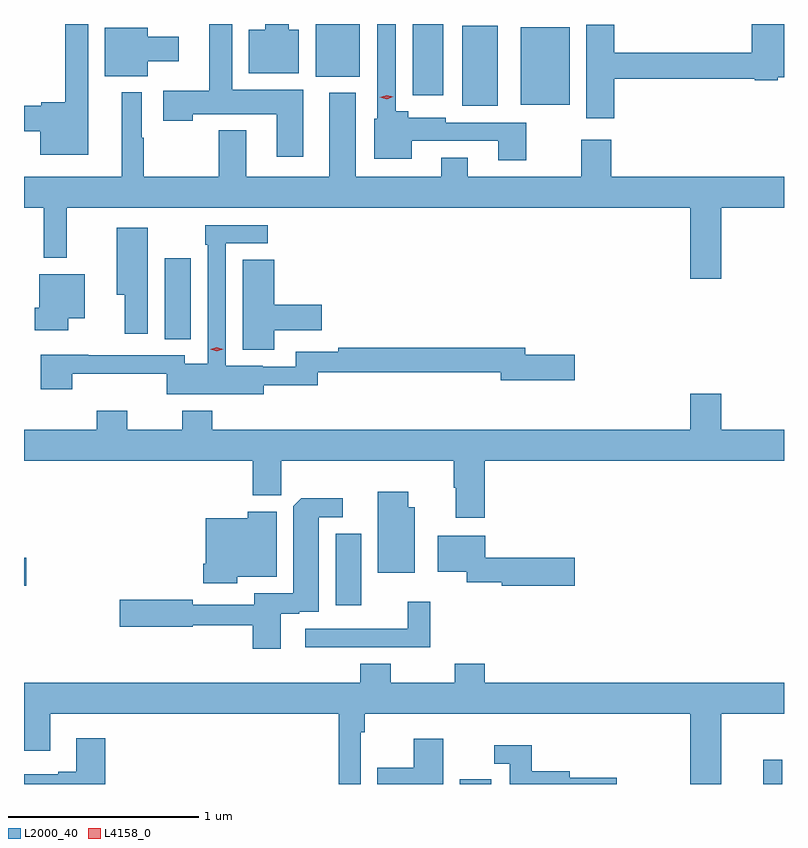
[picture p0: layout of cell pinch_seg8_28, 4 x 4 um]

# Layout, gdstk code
import gdstk
lib = gdstk.Library(unit=1e-6, precision=1e-09)
def R(c, l, rs):  # rectangles x0, y0, x1, y1
    for r in rs: c.add(gdstk.rectangle(r[:2], r[2:], *l))
def P(c, l, *ps):  # polygons
    for p in ps: c.add(gdstk.Polygon(p, *l))
L2000_40 = (2000, 40)
L4158_0 = (4158, 0)

pinch_seg8_28 = lib.new_cell('pinch_seg8_28')
R(pinch_seg8_28, L2000_40, [(895.064,1158.755,895.228,1158.781), (896.662,1158.755,896.761,1158.883), (894.41,1159.695,894.544,1160.071), (892.77,1159.799,892.783,1159.946), (893.51,1161.097,893.647,1161.523), (895.076,1162.325,895.264,1162.747), (895.385,1162.331,895.642,1162.738), (894.815,1162.38,894.976,1162.755), (894.305,1162.478,894.538,1162.755)])
P(pinch_seg8_28, L2000_40, [(895.877,1162.468),(896.616,1162.468),(896.616,1162.46),(896.736,1162.46),(896.736,1162.475),(896.77,1162.475),(896.77,1162.755),(896.6,1162.755),(896.6,1162.604),(895.877,1162.604),(895.877,1162.751),(895.73,1162.751),(895.73,1162.26),(895.877,1162.26)],
  [(895.413,1162.236),(894.99,1162.236),(894.99,1162.261),(894.792,1162.261),(894.792,1162.295),(894.726,1162.295),(894.726,1162.755),(894.63,1162.755),(894.63,1162.257),(894.614,1162.257),(894.614,1162.046),(894.811,1162.046),(894.811,1162.14),(895.265,1162.14),(895.265,1162.038),(895.413,1162.038)],
  [(893.107,1162.755),(892.986,1162.755),(892.986,1162.343),(892.86,1162.343),(892.86,1162.325),(892.77,1162.325),(892.77,1162.19),(892.856,1162.19),(892.856,1162.067),(893.107,1162.067)],
  [(894.241,1162.408),(893.866,1162.408),(893.866,1162.755),(893.744,1162.755),(893.744,1162.403),(893.504,1162.403),(893.504,1162.246),(893.658,1162.246),(893.658,1162.28),(894.101,1162.28),(894.101,1162.056),(894.241,1162.056)],
  [(894.217,1162.726),(894.163,1162.726),(894.163,1162.755),(894.041,1162.755),(894.041,1162.726),(893.954,1162.726),(893.954,1162.496),(894.217,1162.496)],
  [(893.422,1162.559),(893.584,1162.559),(893.584,1162.689),(893.422,1162.689),(893.422,1162.735),(893.195,1162.735),(893.195,1162.481),(893.422,1162.481)],
  [(896.44,1161.788),(896.77,1161.788),(896.77,1161.952),(895.862,1161.952),(895.862,1162.147),(895.702,1162.147),(895.702,1161.952),(895.105,1161.952),(895.105,1162.051),(894.965,1162.051),(894.965,1161.952),(894.517,1161.952),(894.517,1162.393),(894.377,1162.393),(894.377,1161.952),(893.941,1161.952),(893.941,1162.195),(893.794,1162.195),(893.794,1161.952),(893.399,1161.952),(893.399,1162.157),(893.389,1162.157),(893.389,1162.396),(893.285,1162.396),(893.285,1161.952),(892.77,1161.952),(892.77,1161.788),(892.873,1161.788),(892.873,1161.525),(892.994,1161.525),(892.994,1161.788),(896.276,1161.788),(896.276,1161.414),(896.44,1161.414)],
  [(894.031,1160.854),(894.317,1160.854),(894.317,1160.922),(895.28,1160.922),(895.28,1160.879),(895.669,1160.879),(895.669,1161.014),(895.408,1161.014),(895.408,1161.05),(894.424,1161.05),(894.424,1161.03),(894.201,1161.03),(894.201,1160.952),(894.027,1160.952),(894.027,1160.956),(893.832,1160.956),(893.832,1161.6),(894.052,1161.6),(894.052,1161.696),(893.724,1161.696),(893.724,1161.593),(893.736,1161.593),(893.736,1160.968),(893.616,1160.968),(893.616,1161.012),(893.107,1161.012),(893.107,1161.013),(892.859,1161.013),(892.859,1160.832),(893.024,1160.832),(893.024,1160.915),(893.52,1160.915),(893.52,1160.807),(894.031,1160.807)],
  [(893.422,1161.682),(893.258,1161.682),(893.258,1161.329),(893.3,1161.329),(893.3,1161.126),(893.422,1161.126)],
  [(894.088,1161.143),(894.337,1161.143),(894.337,1161.278),(894.088,1161.278),(894.088,1161.515),(893.921,1161.515),(893.921,1161.041),(894.088,1161.041)],
  [(893.004,1161.206),(893.089,1161.206),(893.089,1161.439),(892.85,1161.439),(892.85,1161.261),(892.826,1161.261),(892.826,1161.143),(893.004,1161.143)],
  [(895.196,1160.456),(896.77,1160.456),(896.77,1160.62),(896.44,1160.62),(896.44,1160.809),(896.276,1160.809),(896.276,1160.62),(893.762,1160.62),(893.762,1160.719),(893.602,1160.719),(893.602,1160.62),(893.313,1160.62),(893.313,1160.719),(893.153,1160.719),(893.153,1160.62),(892.77,1160.62),(892.77,1160.456),(893.975,1160.456),(893.975,1160.274),(894.125,1160.274),(894.125,1160.456),(895.031,1160.456),(895.031,1160.315),(895.043,1160.315),(895.043,1160.157),(895.196,1160.157)],
  [(894.826,1160.212),(894.793,1160.212),(894.793,1160.293),(894.632,1160.293),(894.632,1159.868),(894.826,1159.868)],
  [(894.121,1159.65),(894.218,1159.65),(894.218,1159.662),(894.322,1159.662),(894.322,1160.16),(894.448,1160.16),(894.448,1160.258),(894.23,1160.258),(894.188,1160.216),(894.188,1159.758),(893.981,1159.758),(893.981,1159.698),(893.658,1159.698),(893.658,1159.724),(893.274,1159.724),(893.274,1159.582),(893.658,1159.582),(893.658,1159.59),(893.974,1159.59),(893.974,1159.467),(894.121,1159.467)],
  [(893.892,1159.847),(894.1,1159.847),(894.1,1160.188),(893.948,1160.188),(893.948,1160.155),(893.726,1160.155),(893.726,1159.915),(893.714,1159.915),(893.714,1159.811),(893.892,1159.811)],
  [(895.669,1159.946),(895.197,1159.946),(895.197,1160.062),(894.947,1160.062),(894.947,1159.871),(895.101,1159.871),(895.101,1159.816),(895.284,1159.816),(895.284,1159.799),(895.669,1159.799)],
  [(894.908,1159.714),(894.79,1159.714),(894.79,1159.572),(894.249,1159.572),(894.249,1159.476),(894.908,1159.476)],
  [(894.543,1159.028),(894.563,1159.028),(894.563,1159.124),(896.276,1159.124),(896.276,1158.755),(896.44,1158.755),(896.44,1159.124),(896.77,1159.124),(896.77,1159.288),(895.196,1159.288),(895.196,1159.387),(895.036,1159.387),(895.036,1159.288),(894.699,1159.288),(894.699,1159.387),(894.539,1159.387),(894.539,1159.288),(892.77,1159.288),(892.77,1158.93),(892.909,1158.93),(892.909,1159.124),(894.427,1159.124),(894.427,1158.755),(894.543,1158.755)],
  [(893.198,1158.997),(893.045,1158.997),(893.045,1158.82),(892.949,1158.82),(892.949,1158.807),(892.77,1158.807),(892.77,1158.755),(893.198,1158.755)],
  [(894.976,1158.994),(894.821,1158.994),(894.821,1158.841),(894.628,1158.841),(894.628,1158.755),(894.976,1158.755)],
  [(895.891,1158.789),(895.642,1158.789),(895.642,1158.823),(895.442,1158.823),(895.442,1158.958),(895.245,1158.958),(895.245,1158.861),(895.326,1158.861),(895.326,1158.755),(895.891,1158.755)])
P(pinch_seg8_28, L4158_0, [(894.678,1162.36),(894.642,1162.369),(894.642,1162.369),(894.642,1162.369),(894.678,1162.38),(894.714,1162.371),(894.714,1162.371),(894.714,1162.371)],
  [(893.784,1161.033),(893.749,1161.043),(893.749,1161.043),(893.749,1161.043),(893.784,1161.053),(893.818,1161.043),(893.818,1161.043),(893.818,1161.043)])

lib.write_gds('pinch_seg8_28.gds')
